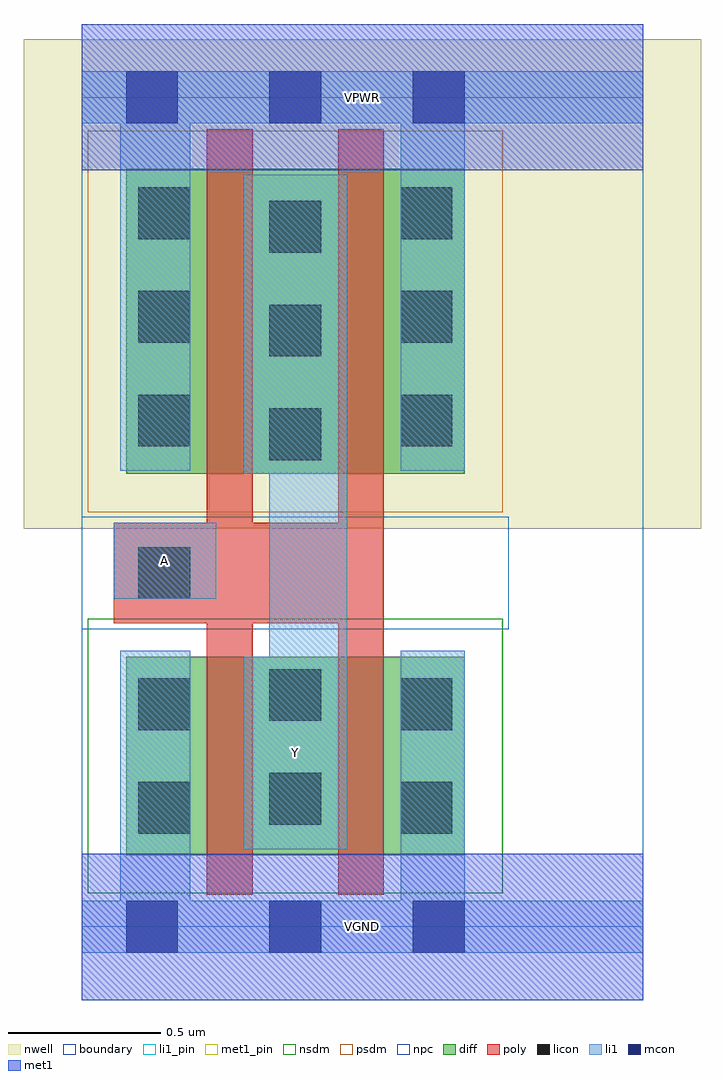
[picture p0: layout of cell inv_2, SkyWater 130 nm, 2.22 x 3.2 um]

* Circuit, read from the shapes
.subckt inv_2 A VGND VPWR Y
XM1 Y A VGND VSUBS sky130_fd_pr__nfet_01v8 w=0.65 l=0.15 m=2
XM2 Y A VPWR n1 sky130_fd_pr__pfet_01v8 w=1 l=0.15 m=2
.ends

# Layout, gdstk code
import gdstk
lib = gdstk.Library(unit=1e-6, precision=1e-09)
def R(c, l, rs):  # rectangles x0, y0, x1, y1
    for r in rs: c.add(gdstk.rectangle(r[:2], r[2:], *l))
def A(c, l, x, y, w, h, nx, ny, dx, dy):  # array of equal rectangles
    R(c, l, [(x+i*dx, y+j*dy, x+i*dx+w, y+j*dy+h) for i in range(nx) for j in range(ny)])
nwell = (64, 20)
diff = (65, 20)
poly = (66, 20)
licon = (66, 44)
li1_pin = (67, 16)
li1 = (67, 20)
mcon = (67, 44)
met1_pin = (68, 16)
met1 = (68, 20)
nsdm = (93, 44)
psdm = (94, 20)
npc = (95, 20)
boundary = (235, 4)

inv_2 = lib.new_cell('inv_2')
R(inv_2, nwell, [(-0.19,1.305,2.03,2.91), (0,1.305,1.84,2.91)])
R(inv_2, diff, [(0.145,0.235,1.255,0.885), (0.145,1.485,1.255,2.485)])
R(inv_2, poly, [(0.41,0.105,0.56,2.615), (0.84,0.105,0.99,2.615), (0.105,0.995,0.99,1.325)])
A(inv_2, licon, 0.615, 1.53, 0.17, 0.17, 1, 3, 0, 0.34)
A(inv_2, licon, 0.185, 1.575, 0.17, 0.17, 1, 3, 0, 0.34)
A(inv_2, licon, 1.045, 1.575, 0.17, 0.17, 1, 3, 0, 0.34)
R(inv_2, licon, [(0.185,0.305,0.355,0.475), (1.045,0.305,1.215,0.475), (0.615,0.335,0.785,0.505), (0.185,0.645,0.355,0.815), (1.045,0.645,1.215,0.815), (0.615,0.675,0.785,0.845), (0.185,1.075,0.355,1.245)])
R(inv_2, li1_pin, [(0.53,0.255,0.87,0.885), (0.105,1.075,0.44,1.325)])
R(inv_2, li1, [(0,-0.085,1.84,0.085), (0.125,-0.085,0.355,0.905), (1.045,-0.085,1.255,0.905), (0.53,0.255,0.87,0.885), (0.615,0.255,0.87,2.465), (0.105,1.075,0.44,1.325), (0.53,1.485,0.87,2.465), (0.125,1.495,0.355,2.805), (1.045,1.495,1.255,2.805), (0,2.635,1.84,2.805)])
A(inv_2, mcon, 0.145, -0.085, 0.17, 0.17, 3, 2, 0.47, 2.72)
R(inv_2, met1_pin, [(0,-0.24,1.84,0.24), (0,2.48,1.84,2.96)])
R(inv_2, met1, [(0,-0.24,1.84,0.24), (0,2.48,1.84,2.96)])
R(inv_2, nsdm, [(0.02,0.11,1.38,1.01)])
R(inv_2, psdm, [(0.02,1.36,1.38,2.61)])
R(inv_2, npc, [(0,0.975,1.4,1.345)])
R(inv_2, boundary, [(0,0,1.84,2.72)])
inv_2.add(gdstk.Label('A', (0.272,1.2), layer=67, texttype=5))
inv_2.add(gdstk.Label('Y', (0.7,0.57), layer=67, texttype=5))
inv_2.add(gdstk.Label('VPWR', (0.92,2.72), layer=68, texttype=5))
inv_2.add(gdstk.Label('VGND', (0.92,0), layer=68, texttype=5))
inv_2.add(gdstk.Label('A', (0.272,1.2), layer=67, texttype=16))
inv_2.add(gdstk.Label('Y', (0.7,0.57), layer=67, texttype=16))
inv_2.add(gdstk.Label('VPWR', (0.92,2.72), layer=68, texttype=16))
inv_2.add(gdstk.Label('VGND', (0.92,0), layer=68, texttype=16))

lib.write_gds('inv_2.gds')
